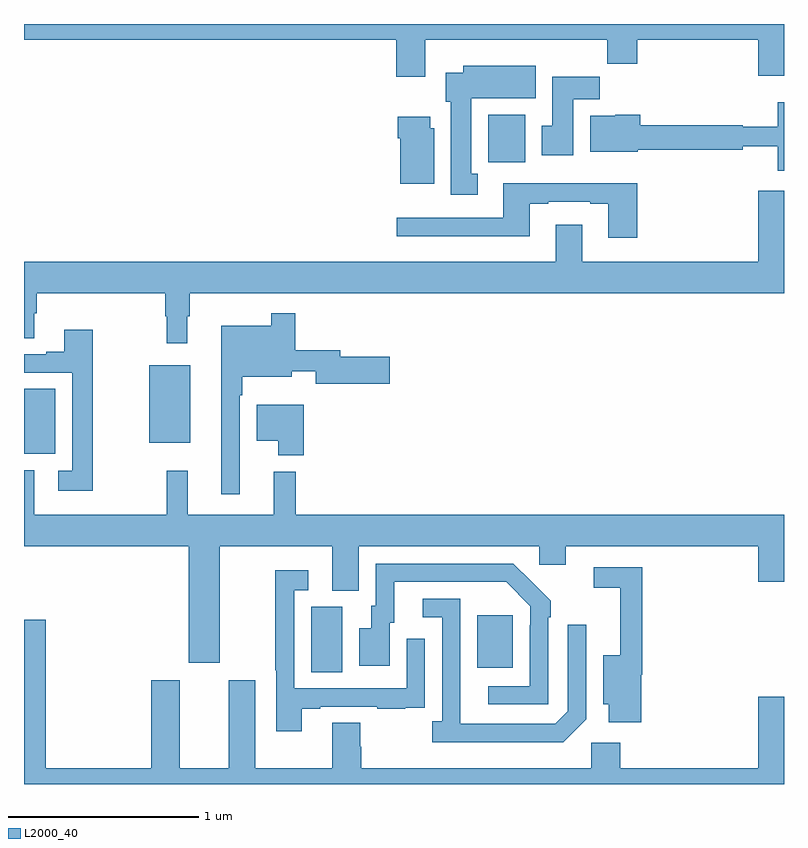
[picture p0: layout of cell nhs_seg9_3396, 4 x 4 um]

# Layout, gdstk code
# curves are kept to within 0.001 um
import gdstk
lib = gdstk.Library(unit=1e-6, precision=1e-09)
def R(c, l, rs):  # rectangles x0, y0, x1, y1
    for r in rs: c.add(gdstk.rectangle(r[:2], r[2:], *l))
def P(c, l, *ps):  # polygons
    for p in ps: c.add(gdstk.Polygon(p, *l))
L2000_40 = (2000, 40)

nhs_seg9_3396 = lib.new_cell('nhs_seg9_3396')
R(nhs_seg9_3396, L2000_40, [(306.512,1197.088,306.676,1197.432), (307.385,1197.113,307.573,1197.388), (305,1198.237,305.164,1198.58), (305.66,1198.295,305.875,1198.705), (307.443,1199.772,307.639,1200.022)])
P(nhs_seg9_3396, L2000_40, [(307.111,1200.416),(308.071,1200.416),(308.071,1200.292),(308.228,1200.292),(308.228,1200.416),(308.864,1200.416),(308.864,1200.228),(309,1200.228),(309,1200.5),(305,1200.5),(305,1200.416),(306.959,1200.416),(306.959,1200.222),(307.111,1200.222)],
  [(307.387,1199.713),(307.354,1199.713),(307.354,1200.11),(307.693,1200.11),(307.693,1200.28),(307.313,1200.28),(307.313,1200.244),(307.22,1200.244),(307.22,1200.09),(307.247,1200.09),(307.247,1199.601),(307.387,1199.601)],
  [(307.891,1200.104),(308.03,1200.104),(308.03,1200.222),(307.781,1200.222),(307.781,1199.964),(307.724,1199.964),(307.724,1199.808),(307.891,1199.808)],
  [(309,1200.088),(308.966,1200.088),(308.966,1199.96),(308.782,1199.96),(308.782,1199.968),(308.243,1199.968),(308.243,1200.022),(308.112,1200.022),(308.112,1200.016),(307.979,1200.016),(307.979,1199.828),(308.23,1199.828),(308.23,1199.839),(308.782,1199.839),(308.782,1199.857),(308.966,1199.857),(308.966,1199.727),(309,1199.727)],
  [(307.159,1199.952),(307.138,1199.952),(307.138,1200.013),(306.968,1200.013),(306.968,1199.9),(306.98,1199.9),(306.98,1199.66),(307.159,1199.66)],
  [(308.228,1199.662),(307.523,1199.662),(307.523,1199.481),(306.963,1199.481),(306.963,1199.384),(307.663,1199.384),(307.663,1199.553),(307.759,1199.553),(307.759,1199.565),(307.979,1199.565),(307.979,1199.553),(308.075,1199.553),(308.075,1199.376),(308.228,1199.376)],
  [(305.86,1198.961),(305.872,1198.961),(305.872,1199.084),(309,1199.084),(309,1199.623),(308.864,1199.623),(308.864,1199.248),(307.939,1199.248),(307.939,1199.443),(307.799,1199.443),(307.799,1199.248),(305,1199.248),(305,1198.846),(305.053,1198.846),(305.053,1198.978),(305.066,1198.978),(305.066,1199.084),(305.743,1199.084),(305.743,1198.961),(305.751,1198.961),(305.751,1198.821),(305.86,1198.821)],
  [(306.135,1198.547),(306.148,1198.547),(306.148,1198.643),(306.409,1198.643),(306.409,1198.673),(306.536,1198.673),(306.536,1198.607),(306.925,1198.607),(306.925,1198.749),(306.664,1198.749),(306.664,1198.783),(306.428,1198.783),(306.428,1198.978),(306.3,1198.978),(306.3,1198.912),(306.038,1198.912),(306.038,1198.026),(306.135,1198.026)],
  [(305.362,1198.891),(305.213,1198.891),(305.213,1198.774),(305.117,1198.774),(305.117,1198.761),(305,1198.761),(305,1198.665),(305.253,1198.665),(305.253,1198.149),(305.181,1198.149),(305.181,1198.044),(305.362,1198.044)],
  [(306.473,1198.495),(306.224,1198.495),(306.224,1198.307),(306.338,1198.307),(306.338,1198.229),(306.473,1198.229)],
  [(306.031,1197.752),(306.623,1197.752),(306.623,1197.517),(306.763,1197.517),(306.763,1197.752),(307.713,1197.752),(307.713,1197.654),(307.852,1197.654),(307.852,1197.752),(308.864,1197.752),(308.864,1197.564),(309,1197.564),(309,1197.916),(306.431,1197.916),(306.431,1198.144),(306.314,1198.144),(306.314,1197.916),(305.861,1197.916),(305.861,1198.15),(305.751,1198.15),(305.751,1197.916),(305.053,1197.916),(305.053,1198.152),(305,1198.152),(305,1197.752),(305.867,1197.752),(305.867,1197.138),(306.031,1197.138)],
  [(307.758,1197.377),(307.773,1197.377),(307.773,1197.465),(307.576,1197.66),(306.852,1197.66),(306.852,1197.438),(306.827,1197.438),(306.827,1197.319),(306.764,1197.319),(306.764,1197.123),(306.925,1197.123),(306.925,1197.348),(306.949,1197.348),(306.949,1197.564),(307.537,1197.564),(307.665,1197.435),(307.665,1197.335),(307.662,1197.335),(307.662,1197.015),(307.443,1197.015),(307.443,1196.919),(307.758,1196.919)],
  [(308.249,1197.074),(308.255,1197.074),(308.255,1197.642),(307.998,1197.642),(307.998,1197.534),(308.138,1197.534),(308.138,1197.178),(308.048,1197.178),(308.048,1196.921),(308.078,1196.921),(308.078,1196.826),(308.249,1196.826)],
  [(306.463,1196.895),(306.559,1196.895),(306.559,1196.907),(306.859,1196.907),(306.859,1196.895),(307.007,1196.895),(307.007,1196.901),(307.109,1196.901),(307.109,1197.01),(307.11,1197.01),(307.11,1197.265),(307.014,1197.265),(307.014,1197.003),(306.423,1197.003),(306.423,1197.519),(306.496,1197.519),(306.496,1197.625),(306.322,1197.625),(306.322,1197.1),(306.327,1197.1),(306.327,1196.778),(306.463,1196.778)],
  [(307.959,1196.841),(307.959,1197.337),(307.863,1197.337),(307.863,1196.883),(307.797,1196.817),(307.297,1196.817),(307.296,1197.474),(307.098,1197.474),(307.098,1197.378),(307.2,1197.378),(307.2,1196.83),(307.149,1196.83),(307.149,1196.72),(307.838,1196.72)],
  [(309,1196.959),(308.864,1196.959),(308.864,1196.584),(308.138,1196.584),(308.138,1196.716),(307.986,1196.716),(307.986,1196.584),(306.776,1196.584),(306.776,1196.697),(306.771,1196.697),(306.771,1196.822),(306.623,1196.822),(306.623,1196.584),(306.217,1196.584),(306.217,1197.046),(306.077,1197.046),(306.077,1196.584),(305.821,1196.584),(305.821,1197.046),(305.669,1197.046),(305.669,1196.584),(305.114,1196.584),(305.114,1197.364),(305,1197.364),(305,1196.5),(309,1196.5)])

lib.write_gds('nhs_seg9_3396.gds')
